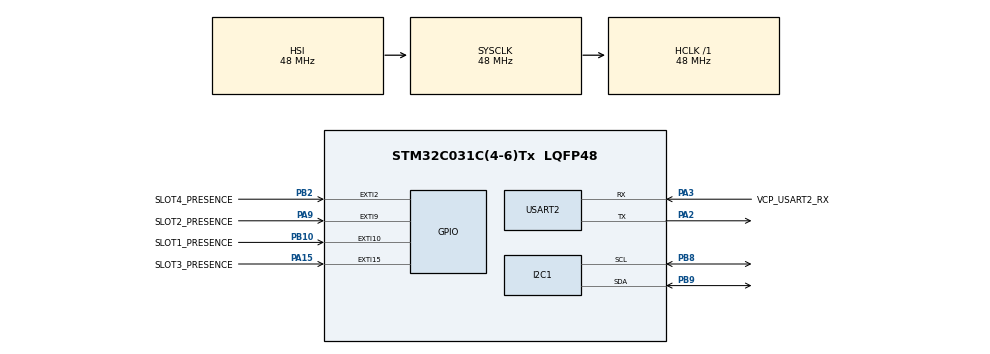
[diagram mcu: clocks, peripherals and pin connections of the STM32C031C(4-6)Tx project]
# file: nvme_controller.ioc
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I2C1.Timing=0x20303E5D
Mcu.Family=STM32C0
Mcu.Name=STM32C031C(4-6)Tx
Mcu.Package=LQFP48
NVIC.EXTI2_3_IRQn=true\:0\:0\:false\:false\:true\:true\:true\:true
NVIC.EXTI4_15_IRQn=true\:0\:0\:false\:false\:true\:true\:true\:true
PA13.GPIO_Label=DEBUG_SWDIO
PA13.Signal=DEBUG_SWDIO
PA14-BOOT0.GPIO_Label=DEBUG_SWCLK
PA14-BOOT0.Signal=DEBUG_SWCLK
PA15.GPIO_Label=SLOT3_PRESENCE
PA15.GPIO_ModeDefaultEXTI=GPIO_MODE_IT_RISING_FALLING
PA15.GPIO_PuPd=GPIO_PULLUP
PA15.Signal=GPXTI15
PA2.Mode=Asynchronous
PA2.Signal=USART2_TX
PA3.GPIO_Label=VCP_USART2_RX
PA3.Mode=Asynchronous
PA3.Signal=USART2_RX
PA9.GPIO_Label=SLOT2_PRESENCE
PA9.GPIO_ModeDefaultEXTI=GPIO_MODE_IT_RISING_FALLING
PA9.GPIO_PuPd=GPIO_PULLUP
PA9.Signal=GPXTI9
PB10.GPIO_Label=SLOT1_PRESENCE
PB10.GPIO_ModeDefaultEXTI=GPIO_MODE_IT_RISING_FALLING
PB10.GPIO_PuPd=GPIO_PULLUP
PB10.Signal=GPXTI10
PB2.GPIO_Label=SLOT4_PRESENCE
PB2.GPIO_ModeDefaultEXTI=GPIO_MODE_IT_RISING_FALLING
PB2.GPIO_PuPd=GPIO_PULLUP
PB2.Signal=GPXTI2
PB8.GPIO_Pu=GPIO_NOPULL
PB8.GPIO_Speed=GPIO_SPEED_FREQ_HIGH
PB8.Mode=I2C
PB8.Signal=I2C1_SCL
PB9.Mode=I2C
PB9.Signal=I2C1_SDA
PC14-OSCX_IN\ (PC14).GPIO_Label=RCC_OSCX_IN
PC14-OSCX_IN\ (PC14).Mode=LSE-External-Oscillator
PC14-OSCX_IN\ (PC14).Signal=RCC_OSCX_IN
PC15-OSCX_OUT\ (PC15).GPIO_Label=RCC_OSCX_OUT
PC15-OSCX_OUT\ (PC15).Mode=LSE-External-Oscillator
PC15-OSCX_OUT\ (PC15).Signal=RCC_OSCX_OUT
PF0-OSC_IN\ (PF0).GPIO_Label=RCC_OSC_IN
PF0-OSC_IN\ (PF0).Mode=HSE-External-Oscillator
PF0-OSC_IN\ (PF0).Signal=RCC_OSC_IN
PF1-OSC_OUT\ (PF1).GPIO_Label=RCC_OSC_OUT
PF1-OSC_OUT\ (PF1).Mode=HSE-External-Oscillator
PF1-OSC_OUT\ (PF1).Signal=RCC_OSC_OUT
ProjectManager.HeapSize=0x200
ProjectManager.StackSize=0x400
ProjectManager.TargetToolchain=STM32CubeIDE
RCC.ADCFreq_Value=48000000
RCC.AHBFreq_Value=48000000
RCC.CortexFreq_Value=48000000
RCC.EXTERNAL_CLOCK_VALUE=12288000
RCC.HCLKFreq_Value=48000000
RCC.HSE_VALUE=48000000
RCC.HSISYSCLKDivider=RCC_HSI_DIV1
RCC.HSI_VALUE=48000000
RCC.SYSCLKFreq_VALUE=48000000
RCC.SYSCLKSource=RCC_SYSCLKSOURCE_HSI
USART2.VirtualMode-Asynchronous=VM_ASYNC
board=NUCLEO-C031C6

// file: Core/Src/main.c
/* USER CODE BEGIN Header */
/**
  ******************************************************************************
  * @file           : main.c
  * @brief          : Main program body
  ******************************************************************************
  * @attention
  *
  * Copyright (c) 2026 STMicroelectronics.
  * All rights reserved.
  *
  * This software is licensed under terms that can be found in the LICENSE file
  * in the root directory of this software component.
  * If no LICENSE file comes with this software, it is provided AS-IS.
  *
  ******************************************************************************
  */
/* USER CODE END Header */
#include "main.h"

/* USER CODE BEGIN Includes */
#include "app_config.h"
#include "app_i2c.h"
#include "app_scheduler.h"
#include "drive_i2c.h"
#include "event_logger.h"
#include "lcd_display.h"
#include "slot_manager.h"
/* USER CODE END Includes */

I2C_HandleTypeDef hi2c1;

UART_HandleTypeDef huart2;

/* USER CODE BEGIN PV */
static app_scheduler_t app_scheduler;

/* USER CODE END PV */

void SystemClock_Config(void);
static void MX_GPIO_Init(void);
static void MX_I2C1_Init(void);
static void MX_USART2_UART_Init(void);

int main(void)
{

  /* MCU Configuration--------------------------------------------------------*/

  /* Reset of all peripherals, Initializes the Flash interface and the Systick. */
  HAL_Init();

  /* Configure the system clock */
  SystemClock_Config();

  /* Initialize all configured peripherals */
  MX_GPIO_Init();
  MX_I2C1_Init();
  MX_USART2_UART_Init();
  /* USER CODE BEGIN 2 */
  uint32_t app_start_ms = HAL_GetTick();
  bool lcd_ready;
  app_i2c_result_t i2c_init_result;

  EventLogger_Init(&huart2);
  SlotManager_Init(app_start_ms);
  i2c_init_result = AppI2C_Init(&hi2c1);
  DriveI2C_Init(&hi2c1);
  lcd_ready = (i2c_init_result == APP_I2C_OK) &&
              LcdDisplay_Init(&hi2c1, app_start_ms);

  EventLogger_PrintStartup();
  if (!lcd_ready)
  {
    EventLogger_LogSystemError(
        HAL_GetTick(),
        (i2c_init_result == APP_I2C_OK) ?
        "LCD_INIT_FAILED" : "I2C_BUS_INIT_FAILED");
    EventLogger_LogI2CDiagnostic(HAL_GetTick(), &hi2c1, GPIOB);
  }

  EventLogger_LogStatus(HAL_GetTick());
  AppScheduler_Init(&app_scheduler, HAL_GetTick());
  /* USER CODE END 2 */

  /* Infinite loop */
  while (1)
  {

    /* USER CODE BEGIN 3 */
    uint32_t now_ms = HAL_GetTick();
    uint32_t due_tasks = AppScheduler_Poll(&app_scheduler,
                                            now_ms);
    bool slot_event_occurred = false;

    if ((due_tasks & APP_TASK_SLOT_PROCESS) != 0U)
    {
      slot_event_record_t slot_events[NVME_SLOT_COUNT];
      uint8_t slot_event_count;
      uint8_t event_index;

      slot_event_count = SlotManager_Process(now_ms,
                                              slot_events,
                                              NVME_SLOT_COUNT);

      for (event_index = 0U;
           event_index < slot_event_count;
           event_index++)
      {
        EventLogger_LogSlotEvent(&slot_events[event_index]);
        LcdDisplay_NotifySlotEvent(&slot_events[event_index]);
      }

      slot_event_occurred = slot_event_count > 0U;
    }

    DriveI2C_Process(now_ms);

    if (slot_event_occurred ||
        ((due_tasks & APP_TASK_LCD_UPDATE) != 0U))
    {
      LcdDisplay_Process(HAL_GetTick());
    }
  }
  /* USER CODE END 3 */
}

void SystemClock_Config(void)
{
  RCC_OscInitTypeDef RCC_OscInitStruct = {0};
  RCC_ClkInitTypeDef RCC_ClkInitStruct = {0};

  __HAL_FLASH_SET_LATENCY(FLASH_LATENCY_1);

  /** Initializes the RCC Oscillators according to the specified parameters
  * in the RCC_OscInitTypeDef structure.
  */
  RCC_OscInitStruct.OscillatorType = RCC_OSCILLATORTYPE_HSI;
  RCC_OscInitStruct.HSIState = RCC_HSI_ON;
  RCC_OscInitStruct.HSIDiv = RCC_HSI_DIV1;
  RCC_OscInitStruct.HSICalibrationValue = RCC_HSICALIBRATION_DEFAULT;
  if (HAL_RCC_OscConfig(&RCC_OscInitStruct) != HAL_OK)
  {
    Error_Handler();
  }

  /** Initializes the CPU, AHB and APB buses clocks
  */
  RCC_ClkInitStruct.ClockType = RCC_CLOCKTYPE_HCLK|RCC_CLOCKTYPE_SYSCLK
                              |RCC_CLOCKTYPE_PCLK1;
  RCC_ClkInitStruct.SYSCLKSource = RCC_SYSCLKSOURCE_HSI;
  RCC_ClkInitStruct.SYSCLKDivider = RCC_SYSCLK_DIV1;
  RCC_ClkInitStruct.AHBCLKDivider = RCC_HCLK_DIV1;
  RCC_ClkInitStruct.APB1CLKDivider = RCC_APB1_DIV1;

  if (HAL_RCC_ClockConfig(&RCC_ClkInitStruct, FLASH_LATENCY_1) != HAL_OK)
  {
    Error_Handler();
  }
}

static void MX_I2C1_Init(void)
{

  hi2c1.Instance = I2C1;
  hi2c1.Init.Timing = 0x20303E5D;
  hi2c1.Init.OwnAddress1 = 0;
  hi2c1.Init.AddressingMode = I2C_ADDRESSINGMODE_7BIT;
  hi2c1.Init.DualAddressMode = I2C_DUALADDRESS_DISABLE;
  hi2c1.Init.OwnAddress2 = 0;
  hi2c1.Init.OwnAddress2Masks = I2C_OA2_NOMASK;
  hi2c1.Init.GeneralCallMode = I2C_GENERALCALL_DISABLE;
  hi2c1.Init.NoStretchMode = I2C_NOSTRETCH_DISABLE;
  if (HAL_I2C_Init(&hi2c1) != HAL_OK)
  {
    Error_Handler();
  }

  /** Configure Analogue filter
  */
  if (HAL_I2CEx_ConfigAnalogFilter(&hi2c1, I2C_ANALOGFILTER_ENABLE) != HAL_OK)
  {
    Error_Handler();
  }

  /** Configure Digital filter
  */
  if (HAL_I2CEx_ConfigDigitalFilter(&hi2c1, 0) != HAL_OK)
  {
    Error_Handler();
  }

}

static void MX_USART2_UART_Init(void)
{

  huart2.Instance = USART2;
  huart2.Init.BaudRate = 115200;
  huart2.Init.WordLength = UART_WORDLENGTH_8B;
  huart2.Init.StopBits = UART_STOPBITS_1;
  huart2.Init.Parity = UART_PARITY_NONE;
  huart2.Init.Mode = UART_MODE_TX_RX;
  huart2.Init.HwFlowCtl = UART_HWCONTROL_NONE;
  huart2.Init.OverSampling = UART_OVERSAMPLING_16;
  huart2.Init.OneBitSampling = UART_ONE_BIT_SAMPLE_DISABLE;
  huart2.Init.ClockPrescaler = UART_PRESCALER_DIV1;
  huart2.AdvancedInit.AdvFeatureInit = UART_ADVFEATURE_NO_INIT;
  if (HAL_UART_Init(&huart2) != HAL_OK)
  {
    Error_Handler();
  }

}

static void MX_GPIO_Init(void)
{
  GPIO_InitTypeDef GPIO_InitStruct = {0};

  /* GPIO Ports Clock Enable */
  __HAL_RCC_GPIOC_CLK_ENABLE();
  __HAL_RCC_GPIOF_CLK_ENABLE();
  __HAL_RCC_GPIOA_CLK_ENABLE();
  __HAL_RCC_GPIOB_CLK_ENABLE();

  /*Configure GPIO pins : SLOT4_PRESENCE_Pin SLOT1_PRESENCE_Pin */
  GPIO_InitStruct.Pin = SLOT4_PRESENCE_Pin|SLOT1_PRESENCE_Pin;
  GPIO_InitStruct.Mode = GPIO_MODE_IT_RISING_FALLING;
  GPIO_InitStruct.Pull = GPIO_PULLUP;
  HAL_GPIO_Init(GPIOB, &GPIO_InitStruct);

  /*Configure GPIO pins : SLOT2_PRESENCE_Pin SLOT3_PRESENCE_Pin */
  GPIO_InitStruct.Pin = SLOT2_PRESENCE_Pin|SLOT3_PRESENCE_Pin;
  GPIO_InitStruct.Mode = GPIO_MODE_IT_RISING_FALLING;
  GPIO_InitStruct.Pull = GPIO_PULLUP;
  HAL_GPIO_Init(GPIOA, &GPIO_InitStruct);

  /* EXTI interrupt init*/
  HAL_NVIC_SetPriority(EXTI2_3_IRQn, 0, 0);
  HAL_NVIC_EnableIRQ(EXTI2_3_IRQn);

  HAL_NVIC_SetPriority(EXTI4_15_IRQn, 0, 0);
  HAL_NVIC_EnableIRQ(EXTI4_15_IRQn);

}

void Error_Handler(void)
{
  __disable_irq();
  while (1)
  {
  }
}
